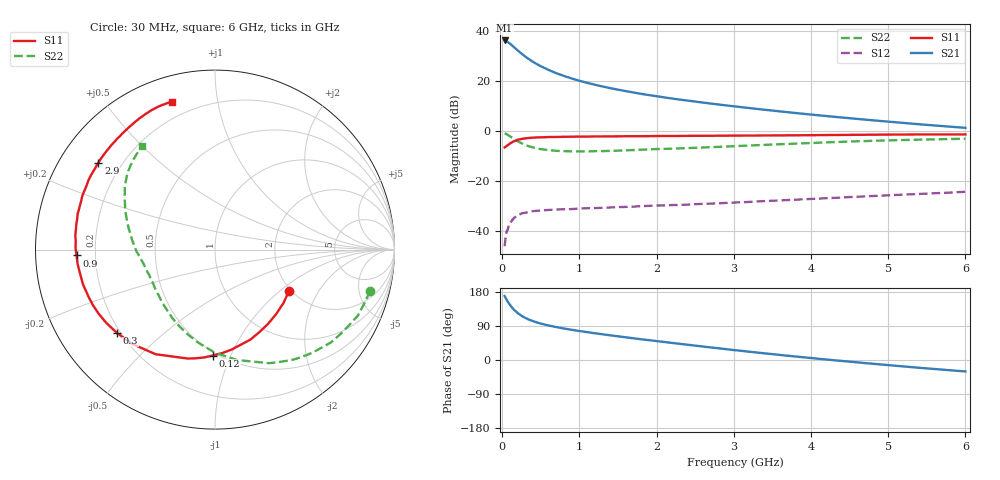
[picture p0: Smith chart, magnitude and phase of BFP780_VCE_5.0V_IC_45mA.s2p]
! Infineon Technologies  Discrete & RF Semiconductors
! BFP780
! VCE =  5.0 V,  IC =  45 mA
! Common Emitter S-Parameters:  Jul 2015
# GHz  S  MA  R  50
!  f  S11  S21  S12  S22
! GHz  MAG  ANG  MAG  ANG  MAG  ANG  MAG  ANG
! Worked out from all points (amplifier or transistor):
!   75 points, 30 MHz to 6 GHz, reference 50 ohm
!   highest |S21| = 36.3 dB at 30 MHz (marker M1)
!   |S21| within 3 dB of that: start of sweep to 163.3 MHz
!   unconditionally stable (mu >= 1): 2 GHz to end of sweep
!   at 150 MHz: K = 0.19, MSG = 34.2 dB, |S12| = -34.8 dB
!   at 2.3 GHz: K = 1.10, MAG = 19.1 dB, |S12| = -29.5 dB
!   at 6 GHz: K = 1.21, MAG = 10.0 dB, |S12| = -24.3 dB
!   S11 on the Smith chart (normalised r, x): 30 MHz: 1.96, -1.15; 120 MHz: 0.47, -0.86; 300 MHz: 0.19, -0.36; 900 MHz: 0.13, -0.02; 2.9 GHz: 0.12, +0.33; 6 GHz: 0.12, +0.74
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0.03  0.4721 -29.0  65.02 168.7  0.005 60.1  0.8944 -15.0
0.05  0.4946 -46.1  63.09 161.2  0.0088 64.8  0.8768 -24.8
0.07  0.5213 -61.4  60.55 154.5  0.0105 61.8  0.8427 -33.9
0.09  0.5493 -74.9  57.53 148.2  0.0133 54.0  0.8067 -42.7
0.12  0.5905 -91.2  52.71 140.0  0.0157 48.7  0.7534 -54.4
0.15  0.6255 -103.9  48 133.0  0.0183 44.2  0.7005 -64.6
0.2  0.6704 -119.6  41 123.8  0.0205 37.8  0.6266 -78.9
0.25  0.698 -131.0  35.38 116.5  0.0226 33.6  0.5719 -90.5
0.3  0.7167 -139.5  30.79 110.9  0.0234 29.7  0.5267 -100.2
0.35  0.7309 -146.2  27.16 106.2  0.0241 27.4  0.4943 -108.3
0.4  0.7407 -151.4  24.22 102.4  0.0251 25.6  0.4704 -115.1
0.5  0.7519 -159.5  19.83 96.1  0.0259 22.5  0.4365 -126.1
0.7  0.7639 -170.2  14.42 86.8  0.027 20.0  0.4035 -141.4
0.9  0.7723 -177.6  11.28 79.7  0.0276 19.4  0.3929 -151.6
1.1  0.7773 176.6  9.227 73.5  0.0287 19.1  0.3928 -159.0
1.5  0.7863 167.6  6.738 62.5  0.0302 20.0  0.4066 -169.3
2.1  0.798 156.4  4.72 47.5  0.0326 21.2  0.4406 -179.8
2.9  0.8103 143.3  3.27 28.6  0.0367 22.6  0.4919 166.9
3.1  0.8139 140.2  3.011 24.1  0.0378 23.1  0.5072 163.6
4.1  0.8317 126.0  2.071 3.2  0.0446 22.7  0.5868 149.1
5.1  0.8535 114.6  1.501 -15.3  0.0529 19.8  0.6579 136.4
6  0.8587 106.3  1.163 -30.2  0.0611 15.2  0.7042 125.2
